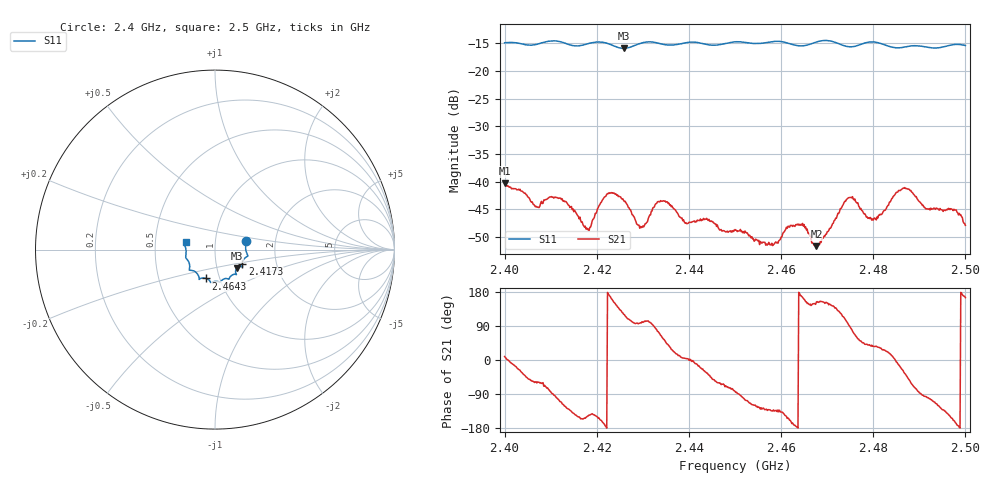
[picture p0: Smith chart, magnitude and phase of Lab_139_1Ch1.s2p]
# Hz S RI R 50
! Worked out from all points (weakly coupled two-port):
!   601 points, 2.4 GHz to 2.5 GHz, reference 50 ohm
!   highest |S21| = -40.27 dB at 2.4 GHz (marker M1); lowest = -51.7 dB at 2.4677 GHz (marker M2)
!   lowest |S11| = -15.9 dB at 2.4258 GHz (marker M3), VSWR 1.38, Z = 62.3 - j13.2 ohm
!   |S11| at or under -10 dB: start of sweep to end of sweep
!   S12 and S22 are empty: the file has one direction only
!   S11 on the Smith chart (normalised r, x): 2.4 GHz: 1.41, +0.14; 2.4173 GHz: 1.34, -0.23; 2.4643 GHz: 0.86, -0.28; 2.5 GHz: 0.72, +0.06
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2.4e9  0.1727 0.0489  0.00957 0.00153  0 0  0 0
2.407e9  0.1737 -0.0102  0.00289 -0.00513  0 0  0 0
2.412e9  0.18 -0.0378  -0.0024 -0.00667  0 0  0 0
2.416667e9  0.1528 -0.0743  -0.00389 -0.00183  0 0  0 0
2.417333e9  0.1519 -0.0818  -0.00347 -0.00176  0 0  0 0
2.4185e9  0.1524 -0.0922  -0.00318 -0.00221  0 0  0 0
2.4225e9  0.1486 -0.0944  -0.00774 0.000852  0 0  0 0
2.425833e9  0.1217 -0.1034  -0.00344 0.00581  0 0  0 0
2.429833e9  0.1172 -0.1354  -0.000741 0.00379  0 0  0 0
2.433333e9  0.113 -0.1373  0.00172 0.00639  0 0  0 0
2.4395e9  0.0795 -0.1617  0.00417 0.000247  0 0  0 0
2.45e9  0.0291 -0.1809  0.000473 -0.00366  0 0  0 0
2.458e9  -0.0191 -0.1827  -0.00194 -0.00198  0 0  0 0
2.464333e9  -0.0497 -0.1606  -0.00406 0.000718  0 0  0 0
2.466667e9  -0.0759 -0.1594  -0.00231 0.00156  0 0  0 0
2.467667e9  -0.0832 -0.1622  -0.00233 0.00118  0 0  0 0
2.474667e9  -0.103 -0.1295  -0.000291 0.00716  0 0  0 0
2.480167e9  -0.1433 -0.1129  0.00379 0.00274  0 0  0 0
2.483333e9  -0.1409 -0.0899  0.00581 0.002  0 0  0 0
2.487167e9  -0.1563 -0.0547  0.00654 -0.00567  0 0  0 0
2.4915e9  -0.1615 -0.0302  -0.000666 -0.00563  0 0  0 0
2.5e9  -0.1639 0.0429  -0.00389 0.00107  0 0  0 0
